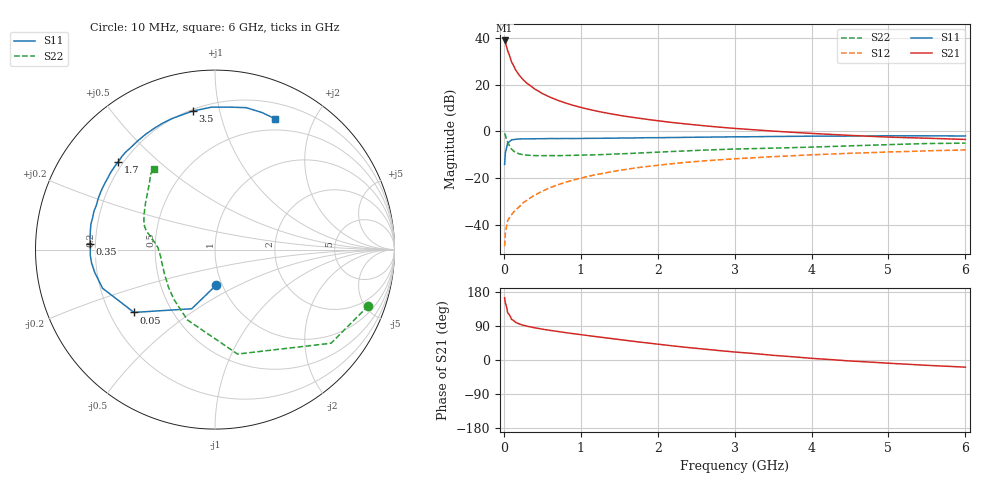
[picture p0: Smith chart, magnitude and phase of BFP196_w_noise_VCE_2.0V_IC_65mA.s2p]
! Infineon Technologies  Discrete & RF Semiconductors
! BFP196
! VCE =  2.0 V,  IC =  65 mA
! Common Emitter S-Parameters:  Jan 2017
# GHz  S  MA  R  50
!  f  S11  S21  S12  S22
! GHz  MAG  ANG  MAG  ANG  MAG  ANG  MAG  ANG
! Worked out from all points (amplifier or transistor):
!   77 points, 10 MHz to 6 GHz, reference 50 ohm
!   highest |S21| = 38.8 dB at 10 MHz (marker M1)
!   |S21| within 3 dB of that: start of sweep to 38.29 MHz
!   unconditionally stable (mu >= 1): 430.8 MHz to 2.522 GHz
!   at 130 MHz: K = 0.72, MSG = 31.0 dB, |S12| = -34.2 dB
!   at 2.2 GHz: K = 1.01, MAG = 8.1 dB, |S12| = -13.7 dB
!   at 6 GHz: K = 0.97, MSG = 2.2 dB, |S12| = -7.9 dB
!   lowest NFmin = 1.62 dB at 450 MHz
!   S11 on the Smith chart (normalised r, x): 10 MHz: 0.93, -0.39; 50 MHz: 0.30, -0.31; 350 MHz: 0.18, +0.02; 1.7 GHz: 0.18, +0.38; 3.5 GHz: 0.21, +0.83; 6 GHz: 0.36, +1.49
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0.01  0.1987 -88.3  86.8 164.2  0.0036 79.3  0.9099 -20.1
0.02  0.3544 -111.5  79.72 150.4  0.0068 73.0  0.8308 -38.9
0.05  0.5712 -142.2  52.37 124.4  0.0125 53.5  0.5955 -77.8
0.1  0.6623 -161.0  30.33 107.3  0.0168 55.4  0.4208 -111.5
0.15  0.6818 -169.2  20.86 99.9  0.0211 58.8  0.3597 -129.5
0.2  0.6917 -173.8  15.82 95.2  0.0248 62.1  0.3339 -140.7
0.25  0.6957 -177.5  12.71 91.7  0.0303 63.3  0.3197 -148.1
0.3  0.6947 179.7  10.64 89.2  0.0342 65.7  0.3132 -153.8
0.35  0.6962 177.5  9.33 87.3  0.039 67.0  0.3091 -157.4
0.4  0.6987 175.4  8.034 84.9  0.0438 68.0  0.3063 -161.1
0.5  0.7019 171.7  6.43 81.4  0.0533 68.6  0.3049 -166.1
0.6  0.7059 168.4  5.384 78.2  0.0635 68.1  0.3058 -169.8
0.8  0.7075 162.4  4.05 72.3  0.0827 67.7  0.3077 -175.0
1.1  0.7126 153.9  2.972 64.3  0.1113 64.5  0.3154 179.6
1.3  0.7168 148.4  2.529 59.2  0.1293 61.8  0.3225 176.9
1.7  0.728 137.7  1.97 49.0  0.1657 56.3  0.3437 172.4
2.1  0.7397 127.5  1.617 39.6  0.1982 50.3  0.3685 168.3
3.1  0.7695 106.4  1.131 19.5  0.267 36.0  0.4259 158.5
3.5  0.7818 99.2  1.017 12.3  0.2906 31.1  0.4413 153.6
4.1  0.7938 89.8  0.891 3.1  0.3223 23.5  0.4696 145.1
5.1  0.8084 76.3  0.749 -9.6  0.369 11.7  0.5295 133.3
6  0.802 65.5  0.676 -18.9  0.4049 1.7  0.5631 127.0
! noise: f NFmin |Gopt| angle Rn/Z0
0.45  1.62  0.43  -173  0.06
0.9  1.78  0.49  -160  0.08
1.9  2.59  0.69  -131  0.35
2.4  3  0.7  -118  0.75
